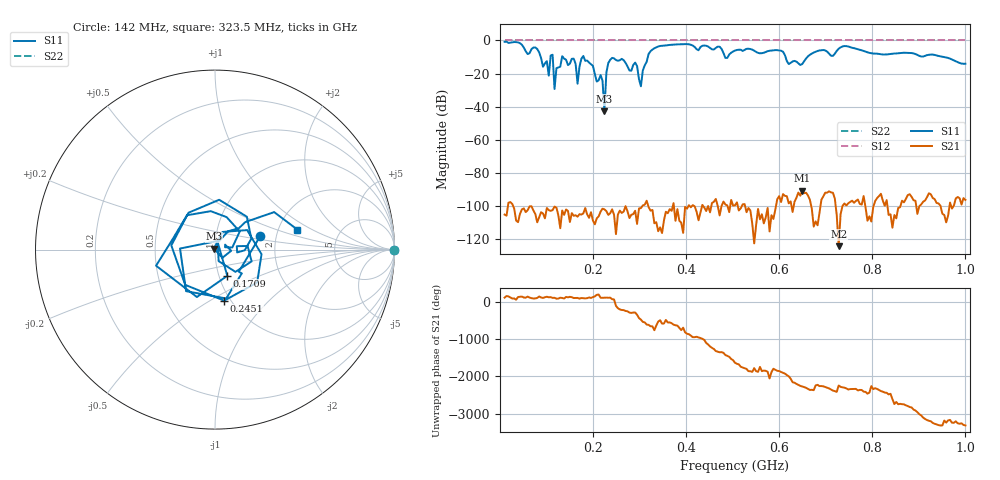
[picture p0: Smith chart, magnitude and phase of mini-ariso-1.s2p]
! Anritsu VNA Master:  Model: MS2024B
! SN:  2417009
! /card0/usr/mini-ariso-1.s2p
! Existing Calibration Information:
! TYPE:  Current Settings,  Active Cal Settings
! TIME:  09/04/2026 04:28:02 AM,  09/04/2026 12:15:56 AM
! INTERNAL TEMP:  53.0 C,  43.8 C
! # POINTS:  241,  241
! START FREQ:  10.000 MHz,  10.000 MHz
! STOP FREQ:  1.000 GHz,  1.000 GHz
! SOURCE POWER:  Default,  Default
! IFBW:  1 kHz,  1 kHz
! AVG FACTOR:  16 ,  1
! REF PLANE 1:  0 mm,  0 mm
! REF PLANE 2:  0 mm,  0 mm
! CAL TYPE:  Full S11,  Full S11
! CAL METHOD:  SOLT,  SOLT
! CAL LINE TYPE:  Coax,  Coax
! DUT PORT 1:  N-Conn(M),  N-Conn(M)
! DUT PORT 2:  N-Conn(M),  N-Conn(M)
! CAL STATUS:  ?T: Accuracy moderate (|Temp diff| > 5.0 C),  --
# GHZ S DB R 50.0
! FREQ.GHZ  S11DB  S11A  S21DB  S21A  S12DB  S12A  S22DB  S22A
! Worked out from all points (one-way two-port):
!   241 points, 10 MHz to 1 GHz, reference 50 ohm
!   highest |S21| = -90.65 dB at 649.4 MHz (marker M1); lowest = -124.1 dB at 727.8 MHz (marker M2)
!   lowest |S11| = -42.7 dB at 224.5 MHz (marker M3), VSWR 1.01, Z = 49.5 + j0.517 ohm
!   |S11| at or under -10 dB: 180 MHz to 317.8 MHz (137.7 MHz wide, 55.3 % of centre); 613.6 MHz to 660.4 MHz (46.86 MHz wide, 7.36 % of centre); 953.8 MHz to end of sweep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
!   |S22| runs from 0.0 to 0.0 dB; largest |S21 - S12| = 1
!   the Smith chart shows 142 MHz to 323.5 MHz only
!   S11 on the Smith chart (normalised r, x): 142 MHz: 1.65, +0.26; 170.9 MHz: 1.10, -0.33; 245.1 MHz: 0.93, -0.58; 323.5 MHz: 2.55, +0.73
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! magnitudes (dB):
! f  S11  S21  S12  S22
! 10 MHz  -0.8  -105.0  0.0  0.0
! 76 MHz  -4.2  -104.7  0.0  0.0
! 104.9 MHz  -21.2  -102.4  0.0  0.0
! 113.1 MHz  -8.6  -102.3  0.0  0.0
! 117.2 MHz  -29.3  -100.2  0.0  0.0
! 142 MHz  -11.6  -102.0  0.0  0.0
! 166.8 MHz  -26.1  -106.3  0.0  0.0
! 170.9 MHz  -15.8  -104.8  0.0  0.0
! 175 MHz  -11.0  -105.0  0.0  0.0
! 216.2 MHz  -20.9  -103.3  0.0  0.0
! 224.5 MHz  -42.7  -101.9  0.0  0.0
! 228.6 MHz  -19.4  -102.9  0.0  0.0
! 245.1 MHz  -10.8  -105.2  0.0  0.0
! 302.9 MHz  -27.7  -101.1  0.0  0.0
! 323.5 MHz  -6.5  -102.7  0.0  0.0
! 340 MHz  -3.7  -115.1  0.0  0.0
! 505 MHz  -6.1  -99.5  0.0  0.0
! 649.4 MHz  -14.2  -90.7  0.0  0.0
! 670 MHz  -7.9  -101.5  0.0  0.0
! 727.8 MHz  -5.0  -124.1  0.0  0.0
! 835 MHz  -8.3  -105.2  0.0  0.0
! 1 GHz  -14.1  -96.2  0.0  0.0
